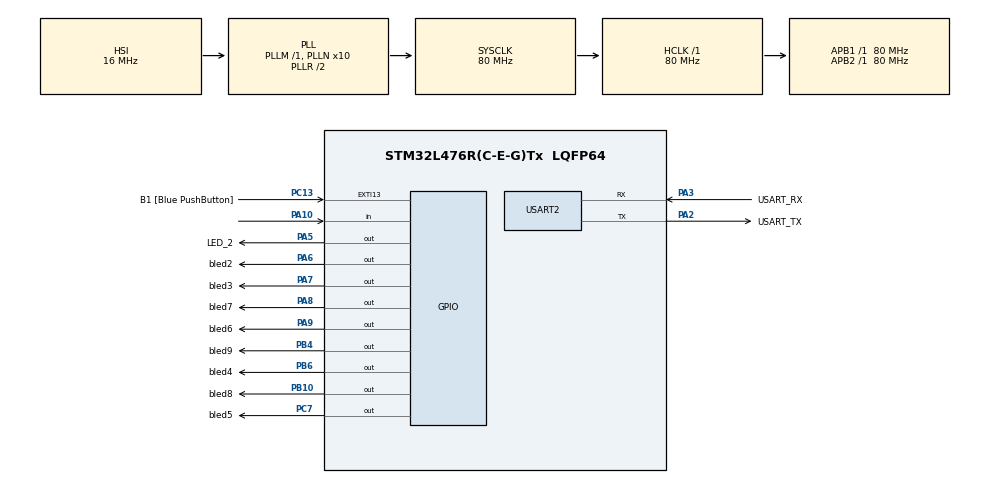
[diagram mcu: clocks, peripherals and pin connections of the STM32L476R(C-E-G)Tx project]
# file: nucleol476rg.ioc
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Mcu.Family=STM32L4
PA2.GPIO_PuPd=GPIO_NOPULL
RCC.CortexFreq_Value=80000000
PH0-OSC_IN\ (PH0).Signal=RCC_OSC_IN
PA3.GPIO_PuPd=GPIO_NOPULL
PA2.GPIO_Speed=GPIO_SPEED_FREQ_VERY_HIGH
PA6.GPIO_Label=bled2
PB6.GPIO_Label=bled4
PC15-OSC32_OUT\ (PC15).Mode=LSE-External-Oscillator
PC13.GPIO_Label=B1 [Blue PushButton]
PA3.GPIO_Speed=GPIO_SPEED_FREQ_VERY_HIGH
RCC.SYSCLKSource=RCC_SYSCLKSOURCE_PLLCLK
ProjectManager.StackSize=0x400
PB3\ (JTDO-TRACESWO).Signal=SYS_JTDO-SWO
PC14-OSC32_IN\ (PC14).Mode=LSE-External-Oscillator
PA14\ (JTCK-SWCLK).Signal=SYS_JTCK-SWCLK
Dma.USART2_RX.0.Priority=DMA_PRIORITY_LOW
Dma.USART2_RX.0.PeriphDataAlignment=DMA_PDATAALIGN_BYTE
RCC.HCLKFreq_Value=80000000
RCC.APB2TimFreq_Value=80000000
PB6.Signal=GPIO_Output
PC7.Signal=GPIO_Output
RCC.AHBFreq_Value=80000000
RCC.PREFETCH_ENABLE=1
RCC.HSE_VALUE=8000000
USART2.VirtualMode-Asynchronous=VM_ASYNC
Dma.USART2_RX.0.MemDataAlignment=DMA_MDATAALIGN_BYTE
Dma.USART2_RX.0.Instance=DMA1_Channel6
PC13.GPIO_PuPd=GPIO_NOPULL
PA8.Signal=GPIO_Output
PB9.Signal=I2C1_SDA
Mcu.Package=LQFP64
PA6.Signal=GPIO_Output
Dma.USART2_RX.0.PeriphInc=DMA_PINC_DISABLE
PA2.GPIO_Label=USART_TX
PA10.Signal=GPIO_Input
RCC.APB1TimFreq_Value=80000000
PA13\ (JTMS-SWDIO).Signal=SYS_JTMS-SWDIO
Dma.Request0=USART2_RX
PA3.Signal=USART2_RX
PA2.GPIO_Mode=GPIO_MODE_AF_PP
RCC.MSI_VALUE=4000000
RCC.PLLSourceVirtual=RCC_PLLSOURCE_HSI
PA14\ (JTCK-SWCLK).Mode=Serial_Wire
NVIC.DMA1_Channel6_IRQn=true\:0\:0\:false\:false\:true\:false\:true
PC13.Signal=GPXTI13
PA9.GPIO_Label=bled6
Dma.USART2_RX.0.Direction=DMA_PERIPH_TO_MEMORY
PC15-OSC32_OUT\ (PC15).Signal=RCC_OSC32_OUT
PA14\ (JTCK-SWCLK).GPIO_Label=TCK
PB3\ (JTDO-TRACESWO).GPIO_Label=SWO
NVIC.USART2_IRQn=true\:0\:0\:false\:false\:true\:true\:true
PH1-OSC_OUT\ (PH1).Signal=RCC_OSC_OUT
Dma.USART2_RX.0.Mode=DMA_NORMAL
PA3.Mode=Asynchronous
PA8.GPIO_Label=bled7
ProjectManager.TargetToolchain=STM32CubeIDE
PB10.GPIO_Label=bled8
PA3.GPIO_Mode=GPIO_MODE_AF_PP
PA9.Signal=GPIO_Output
RCC.USBFreq_Value=64000000
PB10.Signal=GPIO_Output
PA5.Signal=GPIO_Output
board=NUCLEO-L476RG
RCC.VCOOutputFreq_Value=160000000
RCC.APB2Freq_Value=80000000
PA13\ (JTMS-SWDIO).GPIO_Label=TMS
RCC.ADCFreq_Value=64000000
Mcu.Name=STM32L476R(C-E-G)Tx
Dma.USART2_RX.0.MemInc=DMA_MINC_ENABLE
PA2.Signal=USART2_TX
PC7.GPIO_Label=bled5
PA13\ (JTMS-SWDIO).Mode=Serial_Wire
RCC.SYSCLKFreq_VALUE=80000000
PA7.GPIO_Label=bled3
PA5.GPIO_Label=LED_2
PC13.GPIO_ModeDefaultEXTI=GPIO_MODE_IT_FALLING
PC14-OSC32_IN\ (PC14).Signal=RCC_OSC32_IN
ProjectManager.HeapSize=0x200
RCC.HSI_VALUE=16000000
NVIC.PriorityGroup=NVIC_PRIORITYGROUP_4
RCC.PLLN=10
PA2.Mode=Asynchronous
PB8.Signal=I2C1_SCL
PB4\ (NJTRST).GPIO_Label=bled9
RCC.APB1Freq_Value=80000000
PA3.GPIO_Label=USART_RX
PA7.Signal=GPIO_Output
PB4\ (NJTRST).Signal=GPIO_Output

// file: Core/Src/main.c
/* USER CODE BEGIN Header */
/**
  ******************************************************************************
  * @file           : main.c
  * @brief          : Main program body
  ******************************************************************************
  * @attention
  *
  * <h2><center>&copy; Copyright (c) 2021 STMicroelectronics.
  * All rights reserved.</center></h2>
  *
  * This software component is licensed by ST under BSD 3-Clause license,
  * the "License"; You may not use this file except in compliance with the
  * License. You may obtain a copy of the License at:
  *                        opensource.org/licenses/BSD-3-Clause
  *
  ******************************************************************************
  */
/* USER CODE END Header */
#include "main.h"

/* USER CODE BEGIN Includes */
#include "stdio.h"
#include "string.h"
#include "../../header.h"
/* USER CODE END Includes */

UART_HandleTypeDef huart2;
DMA_HandleTypeDef hdma_usart2_rx;

void SystemClock_Config(void);
static void MX_GPIO_Init(void);
static void MX_DMA_Init(void);
static void MX_USART2_UART_Init(void);

/* USER CODE BEGIN 0 */
uint8_t UART2_outputbuffer[255] = {0};
uint8_t funBuffer[1000] = {0};
#ifdef __GNUC__
  /* With GCC/RAISONANCE, small printf (option LD Linker->Libraries->Small printf
     set to 'Yes') calls __io_putchar() */
  #define PUTCHAR_PROTOTYPE int __io_putchar(int ch)
#else
  #define PUTCHAR_PROTOTYPE int fputc(int ch, FILE *f)
#endif /* __GNUC__ */
/**
  * @brief  Retargets the C library printf function to the USART.
  * @param  None
  * @retval None
  */
PUTCHAR_PROTOTYPE
{
  /* Place your implementation of fputc here */
  /* e.g. write a character to the huart2 and Loop until the end of transmission */
  HAL_UART_Transmit(&huart2, (uint8_t *)&ch, 1,0xFFFF);
	//HAL_UART_Transmit_IT(&huart2, (uint8_t *)&ch, 1);
  return ch;
}

/*bool getchar(uint8_t * ch)
{
       // check for overflow and clear
	if (__HAL_UART_GET_FLAG(&huart1, UART_FLAG_ORE))
		__HAL_UART_CLEAR_FLAG(&huart1, UART_FLAG_ORE);

	if (__HAL_UART_GET_FLAG(&huart1, UART_FLAG_RXNE))
	{
		*ch = huart1.Instance->RDR & 0x1FF;
		return true;
	}

	return false;
}*/

void printhexlikeshellcode(size_t l,unsigned char* thing){
	for(size_t i=0;i<l;i++){
		printf("\\x%x",thing[i]);
		//putchar(thing[i]);
	}
}
size_t funBufferIndex=0;
/* USER CODE END 0 */

int main(void)
{

  /* MCU Configuration--------------------------------------------------------*/

  /* Reset of all peripherals, Initializes the Flash interface and the Systick. */
  HAL_Init();

  /* Configure the system clock */
  SystemClock_Config();

  /* Initialize all configured peripherals */
  MX_GPIO_Init();
  MX_DMA_Init();
  MX_USART2_UART_Init();
  /* USER CODE BEGIN 2 */
  HAL_StatusTypeDef x;
  HAL_UART_Receive_DMA(&huart2, (uint8_t *)funBuffer, 4);
  uint buttonPressed1Counter=0;
  uint buttonPressed2Counter=0;
  HAL_GPIO_TogglePin(GPIOA,GPIO_PIN_5);
  uint button1pressed=0;
  uint button1pressednext=0;
  uint button2pressed=0;
  uint button2pressednext=0;
  printf("program start\r\n");
  char prevchar=0;
  uint thechar=0;
  uint dings=0;
  /* USER CODE END 2 */

  /* Infinite loop */
  /* USER CODE BEGIN WHILE */
  while (1)
  {
	  //printf("huart2.RxXferSize=%u\r\n",huart2.RxXferSize);
	  //printf("hello wolrd\r\n");
	  button1pressednext=0;
	  if(HAL_GPIO_ReadPin(GPIOC,GPIO_PIN_13)!=GPIO_PIN_SET){
		  button1pressednext=1;
	      if(button1pressed==0){
	      	  printf("button is pressed times: %u \r\n",++buttonPressed1Counter);
	      	HAL_GPIO_TogglePin(GPIOA,GPIO_PIN_5);
	      }
	      // printf("rust number:%u",test());
	  }/*
	  button2pressednext=0;
	  if(HAL_GPIO_ReadPin(GPIOA,GPIO_PIN_10)!=GPIO_PIN_RESET){
	  	button2pressednext=1;
	    if(button2pressed==0)
	      		printf("button2 is pressed times: %u \r\n",++buttonPressed2Counter);
	  }

	  button2pressednext=button2pressednext;*/
	  button1pressed=button1pressednext;
	  //huart2.pRxBuffPtr  = funBuffer;
	  /*while(funBuffer[funBufferIndex]){
		  //Do something with the character
		  //dings=0;
		  dings++;
		  /*if(funBuffer[funBufferIndex]<='9'&&funBuffer[funBufferIndex]>='0'){
			  dings=funBuffer[funBufferIndex]-'0';
		  }else if(funBuffer[funBufferIndex]<='z'&&funBuffer[funBufferIndex]>='a'){
			  dings=funBuffer[funBufferIndex]-'a'+10;

		  }
		  printf("digit:%u\r\n",dings);
		  HAL_GPIO_WritePin(GPIOA,LED_2_Pin,(dings)&1);
		  HAL_GPIO_WritePin(GPIOA,bled2_Pin,((dings)>>1)&1);
		  HAL_GPIO_WritePin(GPIOA,bled3_Pin,((dings)>>2)&1);
		  HAL_GPIO_WritePin(GPIOB,bled4_Pin,((dings)>>3)&1);
		  HAL_GPIO_WritePin(bled5_GPIO_Port,bled5_Pin,((dings)>>4)&1);
		  HAL_GPIO_WritePin(GPIOA,bled6_Pin,((dings)>>5)&1);
		  HAL_GPIO_WritePin(GPIOA,bled7_Pin,((dings)>>6)&1);
		  HAL_GPIO_WritePin(GPIOB,bled8_Pin,((dings)>>7)&1);
		  HAL_GPIO_WritePin(GPIOB,bled9_Pin,((dings)>>8)&1);
		  funBufferIndex++;
	  }*/
	  while(funBuffer[funBufferIndex]){
		  //printf("pressed, funBufferIndex:%u\r\n",funBufferIndex);
		  dings=0;

		  if(funBuffer[funBufferIndex]<='9'&&funBuffer[funBufferIndex]>='0'){
		  			  dings=funBuffer[funBufferIndex]-'0';
		  }else if(funBuffer[funBufferIndex]<='z'&&funBuffer[funBufferIndex]>='a'){
			  dings=funBuffer[funBufferIndex]-'a'+10;
		  }
		  if(prevchar){
			  thechar|=dings;
			  printf("thechar:%u\r\n",thechar);
			  dings=thechar;
			  HAL_GPIO_WritePin(GPIOA,LED_2_Pin,(dings)&1);
			  HAL_GPIO_WritePin(GPIOA,bled2_Pin,((dings)>>1)&1);
			  HAL_GPIO_WritePin(GPIOA,bled3_Pin,((dings)>>2)&1);
			  HAL_GPIO_WritePin(GPIOB,bled4_Pin,((dings)>>3)&1);
			  HAL_GPIO_WritePin(bled5_GPIO_Port,bled5_Pin,((dings)>>4)&1);
			  HAL_GPIO_WritePin(GPIOA,bled6_Pin,((dings)>>5)&1);
			  HAL_GPIO_WritePin(GPIOA,bled7_Pin,((dings)>>6)&1);
			  HAL_GPIO_WritePin(GPIOB,bled8_Pin,((dings)>>7)&1);
			  HAL_GPIO_WritePin(GPIOB,bled9_Pin,((dings)>>8)&1);
		  }else{
			  thechar=dings<<4;
		  }
		  prevchar=!prevchar;
		  funBufferIndex++;
	  }
	  //printf("length of char %d",sizeof(char));
	  //printhexlikeshellcode(10,funBuffer);
	  //printf("buff:%s\r\n",funBuffer);
	  //memset(funBuffer, 0, sizeof(funBuffer));
	  //HAL_UART_Transmit(&huart2, '\n', 1,0xFFFF);
	 // for(uint i=0;i<2;i++)
	  //printf("%c",huart2.Instance->RDR);
	  //printf("\r\n");
	  //printf("     \r                                                                       ");
	  //char lel[3];
	  //sprintf(lel,"yo");
	  //printf("before transmit\n");
	  //HAL_UART_Transmit(&huart2,(uint8_t *)lel, 3,0xFFFF);
	  //printf("after transmit");
	  //putchar('x');
	  //printf("\r\n");
	  fflush(stdout);
	  //printf("huart2.RxXferCount=%u\r\n",huart2.RxXferCount);
	  //huart2.RxXferCount=1000;
	  //huart2.Instance->TDR='d';
	  if (huart2.Instance->ISR>>3&1||huart2.Instance->CR1==13){
		  printf("I can't receive data anymore\r\n");
		//  printf("huart2.instance->ISR=%u\r\n",huart2.Instance->ISR);
		  printf("huart2.instance->RDR=%c\r\n",huart2.Instance->RDR);
		  //attempt to fix
		 // huart2.Instance->ISR&=(~(1<<3));
		 // huart2.Instance->CR1=301;
		 huart2.RxState = HAL_UART_STATE_READY;
		 printf("HAL REPLY:%u\r\n",HAL_UART_Receive_DMA(&huart2, (uint8_t *)funBuffer, 10));
	  }//else{*/
	  //printf("huart2.RxXferSize=%u\r\n",huart2.RxXferSize);
	  //printf("huart2.instance->RDR=%c\r\n",huart2.Instance->RDR);
	  //printf("huart2.ErrorCode=%u\r\n",huart2.ErrorCode);
	  //printf("huart2.instance->ISR=%u\r\n",huart2.Instance->ISR);
	  //printf("huart2.instance->DR=%u\r\n",huart2.Instance->DR);
	  //printf("huart2.instance->TDR=%u\r\n",huart2.Instance->TDR);
	  //printf("huart2.instance->CR1=%u\r\n",huart2.Instance->CR1);
	  //printf("huart2.instance->CR2=%u\r\n",huart2.Instance->CR2);
	  //printf("huart2.instance->CR3=%u\r\n",huart2.Instance->CR3);
	 // }
	  //HAL_UART_Transmit(&huart2, funBuffer, 255, 100);

	 /* uint8_t Test[] = "Hello World !!!\r\n"; //Data to send
	  HAL_UART_Transmit(&huart2,Test,sizeof(Test),10);// Sending in normal mode
	  x=HAL_UART_Receive (&huart2, UART2_rxBuffer, 12, 5000);
	  HAL_UART_Transmit(&huart2, UART2_rxBuffer, 12, 100);
	  huart2.RxState=HAL_UART_STATE_READY;
	  printf("hello world :p\r\n");
	  sprintf((char*)funBuffer,"huart2.RxXferSize=%u\r\n",huart2.RxXferSize);
	  HAL_UART_Transmit(&huart2, funBuffer, 255, 100);
	  sprintf((char*)funBuffer,"huart2.RxXferCount=%u\r\n",huart2.RxXferCount);
	  HAL_UART_Transmit(&huart2, funBuffer, 255, 100);
	  sprintf((char*)funBuffer,"HAL_UART_Receive return=%u\r\n",x);
	  HAL_UART_Transmit(&huart2, funBuffer, 255, 100);
	  sprintf((char*)funBuffer,"huart2.instance->RDR=%c\r\n",huart2.Instance->RDR);
	  HAL_UART_Transmit(&huart2, funBuffer, 255, 100);
	  memset(UART2_rxBuffer, 0, sizeof(UART2_rxBuffer));
	  HAL_GPIO_TogglePin(GPIOA,GPIO_PIN_5);*/
	 // HAL_GPIO_TogglePin(GPIOA,GPIO_PIN_5);
	  //HAL_GPIO_TogglePin(GPIOC,GPIO_PIN_5);
	  //HAL_Delay(1000);

    /* USER CODE END WHILE */

  }
}

void SystemClock_Config(void)
{
  RCC_OscInitTypeDef RCC_OscInitStruct = {0};
  RCC_ClkInitTypeDef RCC_ClkInitStruct = {0};
  RCC_PeriphCLKInitTypeDef PeriphClkInit = {0};

  /** Initializes the RCC Oscillators according to the specified parameters
  * in the RCC_OscInitTypeDef structure.
  */
  RCC_OscInitStruct.OscillatorType = RCC_OSCILLATORTYPE_HSI;
  RCC_OscInitStruct.HSIState = RCC_HSI_ON;
  RCC_OscInitStruct.HSICalibrationValue = RCC_HSICALIBRATION_DEFAULT;
  RCC_OscInitStruct.PLL.PLLState = RCC_PLL_ON;
  RCC_OscInitStruct.PLL.PLLSource = RCC_PLLSOURCE_HSI;
  RCC_OscInitStruct.PLL.PLLM = 1;
  RCC_OscInitStruct.PLL.PLLN = 10;
  RCC_OscInitStruct.PLL.PLLP = RCC_PLLP_DIV7;
  RCC_OscInitStruct.PLL.PLLQ = RCC_PLLQ_DIV2;
  RCC_OscInitStruct.PLL.PLLR = RCC_PLLR_DIV2;
  if (HAL_RCC_OscConfig(&RCC_OscInitStruct) != HAL_OK)
  {
    Error_Handler();
  }
  /** Initializes the CPU, AHB and APB buses clocks
  */
  RCC_ClkInitStruct.ClockType = RCC_CLOCKTYPE_HCLK|RCC_CLOCKTYPE_SYSCLK
                              |RCC_CLOCKTYPE_PCLK1|RCC_CLOCKTYPE_PCLK2;
  RCC_ClkInitStruct.SYSCLKSource = RCC_SYSCLKSOURCE_PLLCLK;
  RCC_ClkInitStruct.AHBCLKDivider = RCC_SYSCLK_DIV1;
  RCC_ClkInitStruct.APB1CLKDivider = RCC_HCLK_DIV1;
  RCC_ClkInitStruct.APB2CLKDivider = RCC_HCLK_DIV1;

  if (HAL_RCC_ClockConfig(&RCC_ClkInitStruct, FLASH_LATENCY_4) != HAL_OK)
  {
    Error_Handler();
  }
  PeriphClkInit.PeriphClockSelection = RCC_PERIPHCLK_USART2;
  PeriphClkInit.Usart2ClockSelection = RCC_USART2CLKSOURCE_PCLK1;
  if (HAL_RCCEx_PeriphCLKConfig(&PeriphClkInit) != HAL_OK)
  {
    Error_Handler();
  }
  /** Configure the main internal regulator output voltage
  */
  if (HAL_PWREx_ControlVoltageScaling(PWR_REGULATOR_VOLTAGE_SCALE1) != HAL_OK)
  {
    Error_Handler();
  }
}

static void MX_USART2_UART_Init(void)
{

  huart2.Instance = USART2;
  huart2.Init.BaudRate = 115200;
  huart2.Init.WordLength = UART_WORDLENGTH_8B;
  huart2.Init.StopBits = UART_STOPBITS_1;
  huart2.Init.Parity = UART_PARITY_NONE;
  huart2.Init.Mode = UART_MODE_TX_RX;
  huart2.Init.HwFlowCtl = UART_HWCONTROL_NONE;
  huart2.Init.OverSampling = UART_OVERSAMPLING_16;
  huart2.Init.OneBitSampling = UART_ONE_BIT_SAMPLE_DISABLE;
  huart2.AdvancedInit.AdvFeatureInit = UART_ADVFEATURE_NO_INIT;
  if (HAL_UART_Init(&huart2) != HAL_OK)
  {
    Error_Handler();
  }

}

static void MX_DMA_Init(void)
{

  /* DMA controller clock enable */
  __HAL_RCC_DMA1_CLK_ENABLE();

  /* DMA interrupt init */
  /* DMA1_Channel6_IRQn interrupt configuration */
  HAL_NVIC_SetPriority(DMA1_Channel6_IRQn, 0, 0);
  HAL_NVIC_EnableIRQ(DMA1_Channel6_IRQn);

}

static void MX_GPIO_Init(void)
{
  GPIO_InitTypeDef GPIO_InitStruct = {0};

  /* GPIO Ports Clock Enable */
  __HAL_RCC_GPIOC_CLK_ENABLE();
  __HAL_RCC_GPIOH_CLK_ENABLE();
  __HAL_RCC_GPIOA_CLK_ENABLE();
  __HAL_RCC_GPIOB_CLK_ENABLE();

  /*Configure GPIO pin Output Level */
  HAL_GPIO_WritePin(GPIOA, LED_2_Pin|bled2_Pin|bled3_Pin|bled7_Pin
                          |bled6_Pin, GPIO_PIN_RESET);

  /*Configure GPIO pin Output Level */
  HAL_GPIO_WritePin(GPIOB, bled8_Pin|bled9_Pin|bled4_Pin, GPIO_PIN_RESET);

  /*Configure GPIO pin Output Level */
  HAL_GPIO_WritePin(bled5_GPIO_Port, bled5_Pin, GPIO_PIN_RESET);

  /*Configure GPIO pin : B1_Pin */
  GPIO_InitStruct.Pin = B1_Pin;
  GPIO_InitStruct.Mode = GPIO_MODE_IT_FALLING;
  GPIO_InitStruct.Pull = GPIO_NOPULL;
  HAL_GPIO_Init(B1_GPIO_Port, &GPIO_InitStruct);

  /*Configure GPIO pins : LED_2_Pin bled2_Pin bled3_Pin bled7_Pin
                           bled6_Pin */
  GPIO_InitStruct.Pin = LED_2_Pin|bled2_Pin|bled3_Pin|bled7_Pin
                          |bled6_Pin;
  GPIO_InitStruct.Mode = GPIO_MODE_OUTPUT_PP;
  GPIO_InitStruct.Pull = GPIO_NOPULL;
  GPIO_InitStruct.Speed = GPIO_SPEED_FREQ_LOW;
  HAL_GPIO_Init(GPIOA, &GPIO_InitStruct);

  /*Configure GPIO pins : bled8_Pin bled9_Pin bled4_Pin */
  GPIO_InitStruct.Pin = bled8_Pin|bled9_Pin|bled4_Pin;
  GPIO_InitStruct.Mode = GPIO_MODE_OUTPUT_PP;
  GPIO_InitStruct.Pull = GPIO_NOPULL;
  GPIO_InitStruct.Speed = GPIO_SPEED_FREQ_LOW;
  HAL_GPIO_Init(GPIOB, &GPIO_InitStruct);

  /*Configure GPIO pin : bled5_Pin */
  GPIO_InitStruct.Pin = bled5_Pin;
  GPIO_InitStruct.Mode = GPIO_MODE_OUTPUT_PP;
  GPIO_InitStruct.Pull = GPIO_NOPULL;
  GPIO_InitStruct.Speed = GPIO_SPEED_FREQ_LOW;
  HAL_GPIO_Init(bled5_GPIO_Port, &GPIO_InitStruct);

  /*Configure GPIO pin : PA10 */
  GPIO_InitStruct.Pin = GPIO_PIN_10;
  GPIO_InitStruct.Mode = GPIO_MODE_INPUT;
  GPIO_InitStruct.Pull = GPIO_NOPULL;
  HAL_GPIO_Init(GPIOA, &GPIO_InitStruct);

  /*Configure GPIO pins : PB8 PB9 */
  GPIO_InitStruct.Pin = GPIO_PIN_8|GPIO_PIN_9;
  GPIO_InitStruct.Mode = GPIO_MODE_AF_OD;
  GPIO_InitStruct.Pull = GPIO_PULLUP;
  GPIO_InitStruct.Speed = GPIO_SPEED_FREQ_VERY_HIGH;
  GPIO_InitStruct.Alternate = GPIO_AF4_I2C1;
  HAL_GPIO_Init(GPIOB, &GPIO_InitStruct);

}

/* USER CODE BEGIN 4 */
/**
  * @brief Rx Transfer completed callbacks
  * @param huart: uart handle
  * @retval None
  */
void HAL_UART_RxCpltCallback(UART_HandleTypeDef *huart)
{
  /* Prevent unused argument(s) compilation warning */
  UNUSED(huart);

  /* NOTE : This function should not be modified, when the callback is needed,
            the HAL_UART_RxCpltCallback can be implemented in the user file
   */
    char recover=funBuffer[funBufferIndex];
    //printf("recovered character:%c\r\n",funBuffer[funBufferIndex]);
    //printf("Data has been uploaded!\r\n");
    funBufferIndex=0;
    memset(funBuffer, 0, sizeof(funBuffer));
    funBuffer[0]=recover;
    //funBuffer[1]=recover;
    HAL_UART_Receive_DMA(&huart2, (uint8_t *)(funBuffer+1), 999);

   // HAL_UART_Transmit_IT(&huart2, (uint8_t *)funBuffer, 1);
   // printf("I've been interrupted\r\n");
    //HAL_UART_Receive_IT(&huart2, (uint8_t *)funBuffer, 1);
    //memset(funBuffer, 0, sizeof(funBuffer));
}
/* USER CODE END 4 */

void Error_Handler(void)
{
  /* USER CODE BEGIN Error_Handler_Debug */
  /* User can add his own implementation to report the HAL error return state */
  __disable_irq();
  while (1)
  {
	  printf("THERE HAS BEEN AN ERROR\r\n");
  }
  /* USER CODE END Error_Handler_Debug */
}

/************************ (C) COPYRIGHT STMicroelectronics *****END OF FILE****/
